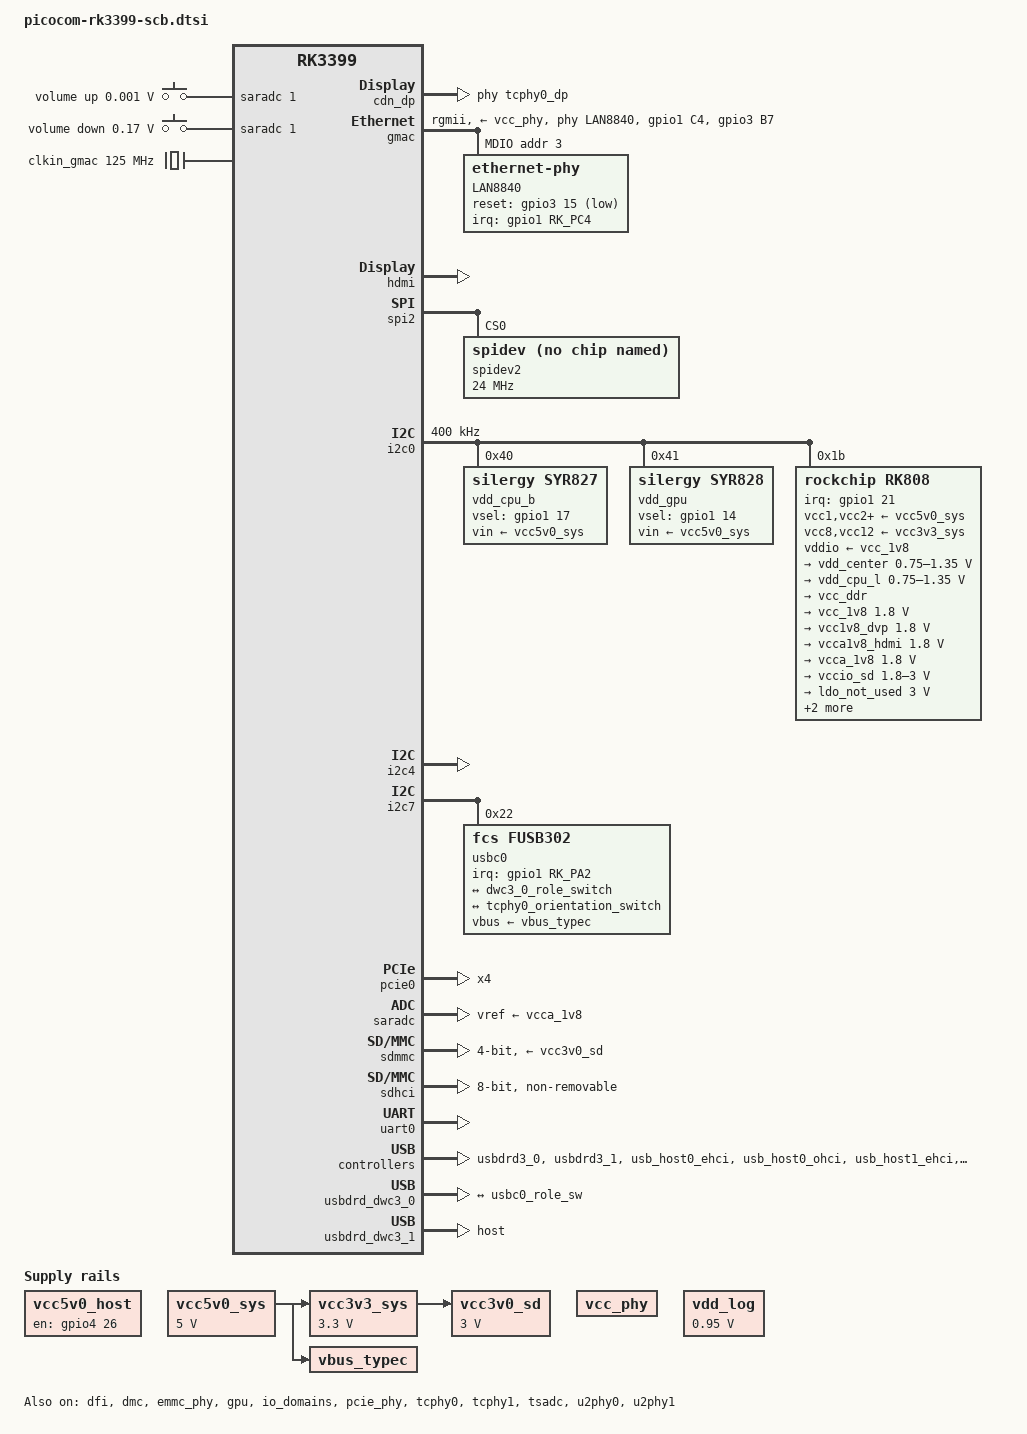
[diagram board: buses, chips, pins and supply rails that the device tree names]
// SPDX-License-Identifier: (GPL-2.0+ OR MIT)
/*
 * Copyright (c) 2019 Fuzhou Rockchip Electronics Co., Ltd
 */

#include "dt-bindings/pwm/pwm.h"
#include "picocom-rk3399.dtsi"
#include "rk3399-opp.dtsi"
#include <dt-bindings/sensor-dev.h>
#include "rk3399-vop-clk-set.dtsi"
#include <dt-bindings/input/input.h>
#include "dt-bindings/usb/pd.h"
#include <dt-bindings/net/microchip-lan78xx.h>

/ {
	compatible = "rockchip,rk3399-evb-ind", "rockchip,rk3399";

	adc_keys {
		compatible = "adc-keys";
		io-channels = <&saradc 1>;
		io-channel-names = "buttons";
		keyup-threshold-microvolt = <1800000>;
		poll-interval = <100>;

		vol-up-key {
			label = "volume up";
			linux,code = <KEY_VOLUMEUP>;
			press-threshold-microvolt = <1000>;
		};

		vol-down-key {
			label = "volume down";
			linux,code = <KEY_VOLUMEDOWN>;
			press-threshold-microvolt = <170000>;
		};
	};

	clkin_gmac: external-gmac-clock {
		compatible = "fixed-clock";
		clock-frequency = <125000000>;
		clock-output-names = "clkin_gmac";
		#clock-cells = <0>;
	};

	vcc5v0_host: vcc5v0-host-regulator {
		compatible = "regulator-fixed";
		enable-active-high;
		gpio = <&gpio4 26 GPIO_ACTIVE_HIGH>;		/*JL change to GPIO4-D2 */
		pinctrl-names = "default";
		pinctrl-0 = <&host_vbus_drv>;
		regulator-name = "vcc5v0_host";
		regulator-always-on;
	};

	vcc5v0_sys: vcc5v0-sys {
		compatible = "regulator-fixed";		/*JL Removed GPIO control */
		regulator-name = "vcc5v0_sys";
		regulator-always-on;
		regulator-min-microvolt = <5000000>;
		regulator-max-microvolt = <5000000>;
	};

	vcc3v3_sys: vcc3v3-sys {
		compatible = "regulator-fixed";
		regulator-name = "vcc3v3_sys";
		regulator-min-microvolt = <3300000>;
		regulator-max-microvolt = <3300000>;
		regulator-always-on;
		vin-supply = <&vcc5v0_sys>;
	};

	vbus_typec: vbus-typec-regulator {
		compatible = "regulator-fixed";
		//enable-active-high;
		//gpio = <&gpio1 3 GPIO_ACTIVE_HIGH>;	/*JL change to GPIO1-A3 */
		pinctrl-names = "default";
		pinctrl-0 = <&vcc5v0_typec0_en>;
		regulator-name = "vbus_typec";
		//regulator-always-on;
		vin-supply = <&vcc5v0_sys>;
	};

	vcc3v0_sd: vcc3v0-sd-regulator {
		compatible = "regulator-fixed";
		regulator-name = "vcc3v0_sd";
		pinctrl-names = "default";
		pinctrl-0 = <&sdmmc0_pwr_h>;
		regulator-min-microvolt = <3000000>;
		regulator-max-microvolt = <3000000>;
		regulator-always-on;
		vin-supply = <&vcc3v3_sys>;
	};


	vcc_phy: vcc-phy-regulator {
		compatible = "regulator-fixed";
		regulator-name = "vcc_phy";
		regulator-always-on;
		regulator-boot-on;
	};

	vdd_log: vdd-log {
		compatible = "regulator-fixed";
		regulator-name = "vdd_log";
		regulator-min-microvolt = <950000>;
		regulator-max-microvolt = <950000>;
		regulator-always-on;
		regulator-boot-on;
	};
};

&cpu_l0 {
	cpu-supply = <&vdd_cpu_l>;
};

&cpu_l1 {
	cpu-supply = <&vdd_cpu_l>;
};

&cpu_l2 {
	cpu-supply = <&vdd_cpu_l>;
};

&cpu_l3 {
	cpu-supply = <&vdd_cpu_l>;
};

&cpu_b0 {
	cpu-supply = <&vdd_cpu_b>;
};

&cpu_b1 {
	cpu-supply = <&vdd_cpu_b>;
};

&cdn_dp {
	status = "okay";
	phys = <&tcphy0_dp>;
};

&dp_in_vopb {
	status = "disabled";
};

&dfi {
	status = "okay";
};

&dmc {
	status = "okay";
	center-supply = <&vdd_center>;
	upthreshold = <40>;
	downdifferential = <20>;
	system-status-freq = <
		/*system status         freq(KHz)*/
		SYS_STATUS_NORMAL       928000
		SYS_STATUS_REBOOT       928000
		SYS_STATUS_SUSPEND      328000
		SYS_STATUS_VIDEO_1080P  666000
		SYS_STATUS_VIDEO_4K     928000
		SYS_STATUS_VIDEO_4K_10B 928000
		SYS_STATUS_PERFORMANCE  928000
		SYS_STATUS_BOOST        928000
		SYS_STATUS_DUALVIEW     928000
		SYS_STATUS_ISP          928000
	>;
	vop-bw-dmc-freq = <
	/* min_bw(MB/s) max_bw(MB/s) freq(KHz) */
		0       762      416000
		763     3012     666000
		3013    99999    856000
	>;

	vop-pn-msch-readlatency = <
		0	0x20
		4	0x20
	>;

	auto-min-freq = <328000>;
	auto-freq-en = <0>;
};

&dmc_opp_table {
		compatible = "operating-points-v2";

		opp-200000000 {
			opp-hz = /bits/ 64 <200000000>;
			opp-microvolt = <900000>;
			status = "disabled";
		};
		opp-300000000 {
			opp-hz = /bits/ 64 <300000000>;
			opp-microvolt = <900000>;
			status = "disabled";
		};
		opp-328000000 {
			opp-hz = /bits/ 64 <328000000>;
			opp-microvolt = <900000>;
		};
		opp-400000000 {
			opp-hz = /bits/ 64 <400000000>;
			opp-microvolt = <900000>;
			status = "disabled";
		};
		opp-416000000 {
			opp-hz = /bits/ 64 <416000000>;
			opp-microvolt = <900000>;
		};
		opp-528000000 {
			opp-hz = /bits/ 64 <528000000>;
			opp-microvolt = <900000>;
			status = "disabled";
		};
		opp-600000000 {
			opp-hz = /bits/ 64 <600000000>;
			opp-microvolt = <900000>;
			status = "disabled";
		};
		opp-666000000 {
			opp-hz = /bits/ 64 <666000000>;
			opp-microvolt = <900000>;
		};
		opp-800000000 {
			opp-hz = /bits/ 64 <800000000>;
			opp-microvolt = <900000>;
			status = "disabled";
		};
		opp-856000000 {
			opp-hz = /bits/ 64 <856000000>;
			opp-microvolt = <900000>;
		};
		opp-928000000 {
			opp-hz = /bits/ 64 <928000000>;
			opp-microvolt = <900000>;
		};
};

&emmc_phy {
	status = "okay";
};

&gmac {
	phy-supply = <&vcc_phy>;
	phy-mode = "rgmii";
	phy-handle = <&LAN8840>;
	clock_in_out = "input";

	assigned-clocks = <&cru SCLK_RMII_SRC>;
	assigned-clock-parents = <&clkin_gmac>;
	pinctrl-names = "default";
	pinctrl-0 = <&rgmii_pins>, <&phy_intb>, <&phy_rstb>;
	tx_delay = <0x22>;
	rx_delay = <0x24>;
	status = "okay";

	mdio {
		compatible = "snps,dwmac-mdio";
		#address-cells = <1>;
		#size-cells = <0>;
		LAN8840: ethernet-phy@3 {
			reg = <0x03>;
			snps,reset-gpio = <&gpio3 15 GPIO_ACTIVE_LOW>;		/*JL change to GPIO3-B7 */
			snps,reset-active-low;
			snps,reset-delays-us = <0 10000 50000>;
			interrupt-parent = <&gpio1>;
			interrupts = <RK_PC4 IRQ_TYPE_LEVEL_LOW>;
		};
	};
};

&gpu {
	status = "okay";
	mali-supply = <&vdd_gpu>;
};

&hdmi {
	status = "okay";
};

&spi2 {
	#address-cells = <1>;
	#size-cells = <0>;
	status = "okay";
	max-freq = <48000000>; /* spi internal clk, don't modify */

	spidev2: spi@0  {
		compatible = "rockchip,spidev";
		reg = <0>;
		spi-max-frequency = <24000000>;
		spi-lsb-first;
	};
};

&i2c0 {
	status = "okay";
	i2c-scl-rising-time-ns = <168>;
	i2c-scl-falling-time-ns = <4>;
	clock-frequency = <400000>;

	vdd_cpu_b: syr827@40 {
		compatible = "silergy,syr827";
		reg = <0x40>;
		regulator-compatible = "fan53555-reg";
		pinctrl-0 = <&vsel1_gpio>;
		vsel-gpios = <&gpio1 17 GPIO_ACTIVE_HIGH>;
		regulator-name = "vdd_cpu_b";
		regulator-min-microvolt = <712500>;
		regulator-max-microvolt = <1500000>;
		regulator-ramp-delay = <1000>;
		fcs,suspend-voltage-selector = <1>;
		regulator-always-on;
		regulator-boot-on;
		vin-supply = <&vcc5v0_sys>;
		regulator-state-mem {
			regulator-off-in-suspend;
		};
	};

	vdd_gpu: syr828@41 {
		compatible = "silergy,syr828";
		reg = <0x41>;
		regulator-compatible = "fan53555-reg";
		pinctrl-0 = <&vsel2_gpio>;
		vsel-gpios = <&gpio1 14 GPIO_ACTIVE_HIGH>;
		regulator-name = "vdd_gpu";
		regulator-min-microvolt = <712500>;
		regulator-max-microvolt = <1500000>;
		regulator-ramp-delay = <1000>;
		fcs,suspend-voltage-selector = <1>;
		regulator-always-on;
		regulator-boot-on;
		vin-supply = <&vcc5v0_sys>;
		regulator-initial-mode = <1>; /* 1:force PWM 2:auto */
		regulator-state-mem {
			regulator-off-in-suspend;
		};
	};

	rk808: pmic@1b {
		compatible = "rockchip,rk808";
		reg = <0x1b>;
		interrupt-parent = <&gpio1>;
		interrupts = <21 IRQ_TYPE_LEVEL_LOW>;	/*JL change to GPIO1-C5 */
		pinctrl-names = "default";
		pinctrl-0 = <&pmic_int_l>;
		rockchip,system-power-controller;
		wakeup-source;
		#clock-cells = <1>;
		clock-output-names = "rk808-clkout1", "rk808-clkout2";

		vcc1-supply = <&vcc5v0_sys>;
		vcc2-supply = <&vcc5v0_sys>;
		vcc3-supply = <&vcc5v0_sys>;
		vcc4-supply = <&vcc5v0_sys>;
		vcc6-supply = <&vcc5v0_sys>;
		vcc7-supply = <&vcc5v0_sys>;
		vcc8-supply = <&vcc3v3_sys>;
		vcc9-supply = <&vcc5v0_sys>;
		vcc10-supply = <&vcc5v0_sys>;
		vcc11-supply = <&vcc5v0_sys>;
		vcc12-supply = <&vcc3v3_sys>;
		vddio-supply = <&vcc_1v8>;

		regulators {
			vdd_center: DCDC_REG1 {
				regulator-name = "vdd_center";
				regulator-min-microvolt = <750000>;
				regulator-max-microvolt = <1350000>;
				regulator-ramp-delay = <6001>;
				regulator-always-on;
				regulator-boot-on;
				regulator-state-mem {
					regulator-off-in-suspend;
				};
			};

			vdd_cpu_l: DCDC_REG2 {
				regulator-name = "vdd_cpu_l";
				regulator-min-microvolt = <750000>;
				regulator-max-microvolt = <1350000>;
				regulator-ramp-delay = <6001>;
				regulator-always-on;
				regulator-boot-on;
				regulator-state-mem {
					regulator-off-in-suspend;
				};
			};

			vcc_ddr: DCDC_REG3 {
				regulator-name = "vcc_ddr";
				regulator-always-on;
				regulator-boot-on;
				regulator-state-mem {
					regulator-on-in-suspend;
				};
			};

			vcc_1v8: DCDC_REG4 {
				regulator-name = "vcc_1v8";
				regulator-min-microvolt = <1800000>;
				regulator-max-microvolt = <1800000>;
				regulator-always-on;
				regulator-boot-on;
				regulator-state-mem {
					regulator-on-in-suspend;
					regulator-suspend-microvolt = <1800000>;
				};
			};

			vcc1v8_dvp: LDO_REG1 {					/* JL Not used */
				regulator-name = "vcc1v8_dvp";
				regulator-min-microvolt = <1800000>;
				regulator-max-microvolt = <1800000>;
				regulator-always-on;
				regulator-boot-on;
				regulator-state-mem {
					regulator-on-in-suspend;
					regulator-suspend-microvolt = <1800000>;
				};
			};

			vcca1v8_hdmi: LDO_REG2 {
				regulator-name = "vcca1v8_hdmi";
				regulator-min-microvolt = <1800000>;
				regulator-max-microvolt = <1800000>;
				regulator-always-on;
				regulator-boot-on;
				regulator-state-mem {
					regulator-on-in-suspend;
					regulator-suspend-microvolt = <1800000>;
				};
			};

			vcca_1v8: LDO_REG3 {
				regulator-name = "vcca_1v8";
				regulator-min-microvolt = <1800000>;
				regulator-max-microvolt = <1800000>;
				regulator-always-on;
				regulator-boot-on;
				regulator-state-mem {
					regulator-on-in-suspend;
					regulator-suspend-microvolt = <1800000>;
				};
			};

			vccio_sd: LDO_REG4 {
				regulator-name = "vccio_sd";			/* JL Changed from vcc_sd */
				regulator-min-microvolt = <1800000>;
				regulator-max-microvolt = <3000000>;
				regulator-always-on;
				regulator-boot-on;
				regulator-state-mem {
					regulator-on-in-suspend;
					regulator-suspend-microvolt = <3000000>;
				};
			};

			ldo_not_used: LDO_REG5 {						/* JL Not used */
				regulator-name = "ldo_not_used";
				regulator-min-microvolt = <3000000>;
				regulator-max-microvolt = <3000000>;
				regulator-always-on;
				regulator-boot-on;
				regulator-state-mem {
					regulator-on-in-suspend;
					regulator-suspend-microvolt = <3000000>;
				};
			};

			vcc_1v5: LDO_REG6 {
				regulator-name = "vcc_1v5";
				regulator-min-microvolt = <1500000>;
				regulator-max-microvolt = <1500000>;
				regulator-always-on;
				regulator-boot-on;
				regulator-state-mem {
					regulator-on-in-suspend;
					regulator-suspend-microvolt = <1500000>;
				};
			};

			vcca0v9_hdmi: LDO_REG7 {
				regulator-name = "vcca0v9_hdmi";
				regulator-min-microvolt = <900000>;
				regulator-max-microvolt = <900000>;
				regulator-always-on;
				regulator-boot-on;
				regulator-state-mem {
					regulator-on-in-suspend;
					regulator-suspend-microvolt = <900000>;
				};
			};

			vcc_3v0: LDO_REG8 {
				regulator-name = "vcc_3v0";
				regulator-min-microvolt = <3000000>;
				regulator-max-microvolt = <3000000>;
				regulator-always-on;
				regulator-boot-on;
				regulator-state-mem {
					regulator-on-in-suspend;
					regulator-suspend-microvolt = <3000000>;
				};
			};

			vcc3v3_s3: SWITCH_REG1 {				/* JL Not used */
				regulator-name = "vcc3v3_s3";
				regulator-always-on;
				regulator-boot-on;
				regulator-state-mem {
					regulator-on-in-suspend;
				};
			};

			vcc3v3_s0: SWITCH_REG2 {				/* JL Not used */
				regulator-name = "vcc3v3_s0";
				regulator-always-on;
				regulator-boot-on;
				regulator-state-mem {
					regulator-on-in-suspend;
				};
			};
		};
	};
};

&i2c4 {
	status = "okay";
	i2c-scl-rising-time-ns = <475>;
	i2c-scl-falling-time-ns = <26>;

	/* JL add IRPS5401,LM75,EEPROM devices later */

	};

&i2c7 {
	status = "okay";
	i2c-scl-rising-time-ns = <475>;
	i2c-scl-falling-time-ns = <26>;

	usbc0: fusb302@22 {
		compatible = "fcs,fusb302";
		reg = <0x22>;
		interrupt-parent = <&gpio1>;
		interrupts = <RK_PA2 IRQ_TYPE_LEVEL_LOW>;
		pinctrl-names = "default";
		pinctrl-0 = <&usbc0_int>;
		vbus-supply = <&vbus_typec>;
		status = "okay";

		ports {
			#address-cells = <1>;
			#size-cells = <0>;

			port@0 {
				reg = <0>;
				usbc0_role_sw: endpoint@0 {
					remote-endpoint = <&dwc3_0_role_switch>;
				};
			};
		};

		usb_con: connector {
			compatible = "usb-c-connector";
			label = "USB-C";
			data-role = "dual";
			power-role = "dual";
			try-power-role = "sink";
			op-sink-microwatt = <1000000>;
			sink-pdos =
				<PDO_FIXED(5000, 2500, PDO_FIXED_USB_COMM)>;
			source-pdos =
				<PDO_FIXED(5000, 1500, PDO_FIXED_USB_COMM)>;

			ports {
				#address-cells = <1>;
				#size-cells = <0>;

				port@0 {
					reg = <0>;
					usbc0_orien_sw: endpoint {
						remote-endpoint = <&tcphy0_orientation_switch>;
					};
				};
			};
		};
	};
};

&io_domains {
	status = "okay";

	bt656-supply = <&vcc_1v8>;		/* bt656_gpio2ab_ms -- JL */
	audio-supply = <&vcc_1v8>;	/* audio_gpio3d4a_ms -- JL */
	sdmmc-supply = <&vccio_sd>;		/* sdmmc_gpio4b_ms */
	gpio1830-supply = <&vcc_3v0>;		/* gpio1833_gpio4cd_ms */
};

&isp0_mmu {
	status = "okay";
};

&isp1_mmu {
	status = "okay";
};

&pmu_io_domains {
	status = "okay";
	pmu1830-supply = <&vcc_1v8>;
};

&pcie_phy {
	status = "okay";
};

&pcie0 {
	ep-gpios = <&gpio2 RK_PA4 GPIO_ACTIVE_HIGH>;		/* JL Not sure */
	num-lanes = <4>;
	pinctrl-names = "default";
	pinctrl-0 = <&pcie_clkreqn_cpm>;
	status = "okay";
};

&rockchip_suspend {
	status = "okay";
	rockchip,sleep-debug-en = <1>;
	rockchip,sleep-mode-config = <
		(0
		| RKPM_SLP_ARMPD
		| RKPM_SLP_PERILPPD
		| RKPM_SLP_DDR_RET
		| RKPM_SLP_PLLPD
		| RKPM_SLP_CENTER_PD
		| RKPM_SLP_AP_PWROFF
		)
		>;
	rockchip,wakeup-config = <
		(0
		| RKPM_GPIO_WKUP_EN
		| RKPM_PWM_WKUP_EN
		)
		>;
		rockchip,pwm-regulator-config = <
		(0
		| PWM2_REGULATOR_EN
		)
		>;
		rockchip,power-ctrl =
		<&gpio1 17 GPIO_ACTIVE_HIGH>,
		<&gpio1 14 GPIO_ACTIVE_HIGH>;
};

&saradc {
	status = "okay";
};

&sdmmc {
	clock-frequency = <150000000>;
	clock-freq-min-max = <100000 150000000>;
	no-sdio;
	no-mmc;
	bus-width = <4>;
	cap-mmc-highspeed;
	cap-sd-highspeed;
	disable-wp;
	num-slots = <1>;
	sd-uhs-sdr104;
	vmmc-supply = <&vcc3v0_sd>;
	vqmmc-supply = <&vccio_sd>;
	pinctrl-names = "default";
	pinctrl-0 = <&sdmmc_clk &sdmmc_cmd &sdmmc_cd &sdmmc_bus4>;
	status = "okay";
};

&sdhci {
	bus-width = <8>;
	mmc-hs400-1_8v;
	no-sdio;
	no-sd;
	non-removable;
	keep-power-in-suspend;
	mmc-hs400-enhanced-strobe;
	status = "okay";
};

&saradc {
	status = "okay";
	vref-supply = <&vcca_1v8>;
};

&tcphy0 {
	status = "okay";

	orientation-switch;
	port {
		#address-cells = <1>;
		#size-cells = <0>;
		tcphy0_orientation_switch: endpoint@0 {
			reg = <0>;
			remote-endpoint = <&usbc0_orien_sw>;
		};
	};
};

&tcphy1 {
	status = "okay";
};

&tsadc {
	/* tshut mode 0:CRU 1:GPIO */
	rockchip,hw-tshut-mode = <1>;
	/* tshut polarity 0:LOW 1:HIGH */
	rockchip,hw-tshut-polarity = <1>;
	status = "okay";
};

&uart0 {
	pinctrl-names = "default";
	pinctrl-0 = <&uart0_xfer &uart0_cts>;
	status = "okay";
};

&uart2 {
	status = "disabled";
};

&u2phy0 {
	status = "okay";

	u2phy0_otg: otg-port {
		status = "okay";
	};

	u2phy0_host: host-port {
		phy-supply = <&vbus_typec>;
		status = "okay";
	};
};

&u2phy1 {
	status = "okay";

	u2phy1_otg: otg-port {
		status = "okay";
	};

	u2phy1_host: host-port {
		status = "okay";
	};
};

&usbdrd3_0 {
	status = "okay";
};

&usbdrd3_1 {
	status = "okay";
};

&usbdrd_dwc3_0 {
	status = "okay";
	usb-role-switch;
	port {
		#address-cells = <1>;
		#size-cells = <0>;
		dwc3_0_role_switch: endpoint@0 {
			reg = <0>;
			remote-endpoint = <&usbc0_role_sw>;
		};
	};
};

&usbdrd_dwc3_1 {
	status = "okay";
	dr_mode = "host";
};

&usb_host0_ehci {
	status = "okay";
};

&usb_host0_ohci {
	status = "okay";
};

&usb_host1_ehci {
	status = "okay";
};

&usb_host1_ohci {
	status = "okay";
};

&vopb {
	assigned-clocks = <&cru DCLK_VOP0_DIV>;
	assigned-clock-parents = <&cru PLL_CPLL>;
};

&vopl {
	assigned-clocks = <&cru DCLK_VOP1_DIV>;
	assigned-clock-parents = <&cru PLL_VPLL>;
};

&pinctrl {

	pmic {
		pmic_int_l: pmic-int-l {
			rockchip,pins =
				<1 RK_PC5 RK_FUNC_GPIO &pcfg_pull_up>;
		};

		vsel1_gpio: vsel1-gpio {
			rockchip,pins =
				<1 RK_PC1 RK_FUNC_GPIO &pcfg_pull_down>;
		};

		vsel2_gpio: vsel2-gpio {
			rockchip,pins =
				<1 RK_PB6 RK_FUNC_GPIO &pcfg_pull_down>;
		};
		/* JL No enable RK808 SLEEP control */
		/* soc_slppin_gpio: soc-slppin-gpio {
			rockchip,pins =
				<1 RK_PA5 RK_FUNC_GPIO &pcfg_output_low>;
		};

		soc_slppin_slp: soc-slppin-slp {
			rockchip,pins =
				<1 RK_PA5 1 &pcfg_pull_none>;
		}; */
	};

	usb2 {
		host_vbus_drv: host-vbus-drv {
			rockchip,pins =
				<0 RK_PB0 RK_FUNC_GPIO &pcfg_pull_none>;
		};
	};

	usb-typec {
		usbc0_int: usbc0-int {
			rockchip,pins = <1 RK_PA2 RK_FUNC_GPIO &pcfg_pull_up>;
		};

		vcc5v0_typec0_en: vcc5v0-typec0-en {
			rockchip,pins =
				<1 RK_PA3 RK_FUNC_GPIO &pcfg_pull_none>;
		};
	};

	vcc3v0_sd {
		sdmmc0_pwr_h: sdmmc0-pwr-h {
			rockchip,pins =
				<0 RK_PA1 RK_FUNC_GPIO &pcfg_pull_up>;
		};
	};
	gmac {
		phy_intb: phy-intb {
			rockchip,pins = <1 RK_PC4 RK_FUNC_GPIO &pcfg_pull_up>;
		};

		phy_rstb: phy-rstb {
			rockchip,pins = <3 RK_PB7 RK_FUNC_GPIO &pcfg_pull_none>;
		};
	};
};
